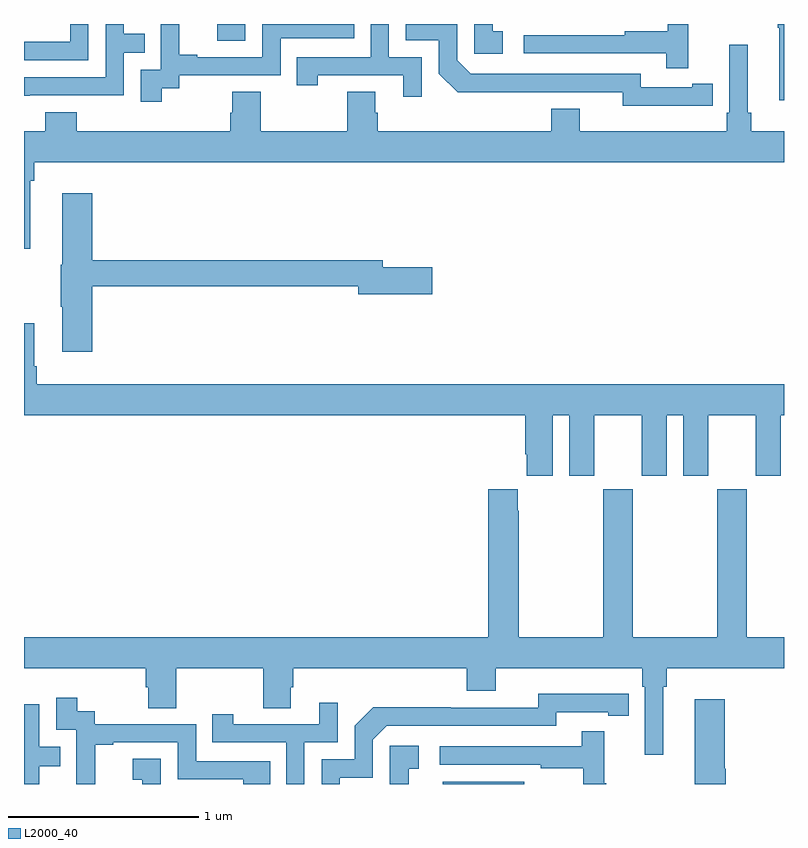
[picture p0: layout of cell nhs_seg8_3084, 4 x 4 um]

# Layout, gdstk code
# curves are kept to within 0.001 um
import gdstk
lib = gdstk.Library(unit=1e-6, precision=1e-09)
def R(c, l, rs):  # rectangles x0, y0, x1, y1
    for r in rs: c.add(gdstk.rectangle(r[:2], r[2:], *l))
def P(c, l, *ps):  # polygons
    for p in ps: c.add(gdstk.Polygon(p, *l))
L2000_40 = (2000, 40)

nhs_seg8_3084 = lib.new_cell('nhs_seg8_3084')
R(nhs_seg8_3084, L2000_40, [(305.204,1107.9,305.632,1107.913), (304.017,1111.812,304.164,1111.9), (303,1111.898,303.158,1111.9)])
P(nhs_seg8_3084, L2000_40, [(305.521,1111.863),(305.468,1111.863),(305.468,1111.9),(305.37,1111.9),(305.37,1111.743),(305.521,1111.743)],
  [(306.497,1111.9),(306.387,1111.9),(306.387,1111.862),(306.163,1111.862),(306.163,1111.842),(305.631,1111.842),(305.631,1111.746),(306.379,1111.746),(306.379,1111.668),(306.497,1111.668)],
  [(307,1111.9),(306.967,1111.9),(306.967,1111.879),(306.974,1111.879),(306.974,1111.5),(307,1111.5)],
  [(306.518,1111.47),(306.626,1111.47),(306.626,1111.586),(306.518,1111.586),(306.518,1111.566),(306.246,1111.566),(306.246,1111.638),(305.352,1111.638),(305.28,1111.71),(305.28,1111.9),(305.01,1111.9),(305.01,1111.815),(305.184,1111.815),(305.184,1111.638),(305.282,1111.541),(306.15,1111.542),(306.15,1111.469)],
  [(303.724,1111.561),(303.816,1111.561),(303.816,1111.629),(304.35,1111.629),(304.35,1111.824),(304.739,1111.824),(304.739,1111.9),(304.254,1111.9),(304.254,1111.725),(303.913,1111.725),(303.913,1111.738),(303.818,1111.738),(303.818,1111.9),(303.719,1111.9),(303.719,1111.889),(303.72,1111.889),(303.72,1111.659),(303.615,1111.659),(303.615,1111.491),(303.724,1111.491)],
  [(305.094,1111.725),(304.92,1111.725),(304.92,1111.9),(304.824,1111.9),(304.824,1111.725),(304.435,1111.725),(304.435,1111.578),(304.546,1111.578),(304.546,1111.629),(304.997,1111.629),(304.997,1111.518),(305.094,1111.518)],
  [(303.339,1111.9),(303.243,1111.9),(303.243,1111.806),(303,1111.806),(303,1111.71),(303.339,1111.71)],
  [(303.029,1111.524),(303.525,1111.524),(303.525,1111.749),(303.635,1111.749),(303.635,1111.85),(303.525,1111.85),(303.525,1111.9),(303.429,1111.9),(303.429,1111.62),(303,1111.62),(303,1111.523),(303.029,1111.523)],
  [(303.034,1111.076),(303.053,1111.076),(303.053,1111.172),(307,1111.172),(307,1111.336),(306.827,1111.336),(306.827,1111.432),(306.808,1111.432),(306.808,1111.792),(306.711,1111.792),(306.711,1111.432),(306.698,1111.432),(306.698,1111.336),(305.926,1111.336),(305.926,1111.453),(305.774,1111.453),(305.774,1111.336),(304.862,1111.336),(304.862,1111.434),(304.849,1111.434),(304.849,1111.544),(304.702,1111.544),(304.702,1111.336),(304.245,1111.336),(304.245,1111.544),(304.097,1111.544),(304.097,1111.434),(304.085,1111.434),(304.085,1111.336),(303.278,1111.336),(303.278,1111.435),(303.113,1111.435),(303.113,1111.336),(303,1111.336),(303,1110.717),(303.034,1110.717)],
  [(303.359,1110.52),(304.76,1110.52),(304.76,1110.478),(305.149,1110.478),(305.149,1110.62),(304.888,1110.62),(304.888,1110.656),(303.359,1110.656),(303.359,1111.009),(303.2,1111.009),(303.2,1110.633),(303.193,1110.633),(303.193,1110.412),(303.2,1110.412),(303.2,1110.174),(303.359,1110.174)],
  [(305.782,1109.84),(305.87,1109.84),(305.87,1109.523),(306.001,1109.523),(306.001,1109.84),(306.251,1109.84),(306.251,1109.523),(306.382,1109.523),(306.382,1109.84),(306.47,1109.84),(306.47,1109.523),(306.601,1109.523),(306.601,1109.84),(306.851,1109.84),(306.851,1109.523),(306.982,1109.523),(306.982,1109.84),(307,1109.84),(307,1110.004),(303.068,1110.004),(303.068,1110.1),(303.055,1110.1),(303.055,1110.325),(303,1110.325),(303,1109.84),(305.639,1109.84),(305.639,1109.635),(305.645,1109.635),(305.645,1109.523),(305.782,1109.523)],
  [(306.364,1108.412),(306.383,1108.412),(306.383,1108.508),(307,1108.508),(307,1108.672),(306.804,1108.672),(306.804,1109.452),(306.649,1109.452),(306.649,1108.672),(306.204,1108.672),(306.204,1109.452),(306.049,1109.452),(306.049,1108.672),(305.604,1108.672),(305.604,1109.339),(305.599,1109.339),(305.599,1109.452),(305.444,1109.452),(305.444,1108.672),(303,1108.672),(303,1108.508),(303.641,1108.508),(303.641,1108.41),(303.653,1108.41),(303.653,1108.3),(303.801,1108.3),(303.801,1108.508),(304.258,1108.508),(304.258,1108.3),(304.405,1108.3),(304.405,1108.41),(304.418,1108.41),(304.418,1108.508),(305.33,1108.508),(305.33,1108.391),(305.482,1108.391),(305.482,1108.508),(306.254,1108.508),(306.254,1108.412),(306.267,1108.412),(306.267,1108.053),(306.364,1108.053)],
  [(304.663,1107.933),(304.836,1107.933),(304.836,1108.134),(304.908,1108.206),(305.802,1108.206),(305.802,1108.278),(306.074,1108.278),(306.074,1108.258),(306.182,1108.258),(306.182,1108.374),(305.706,1108.375),(305.706,1108.302),(305.246,1108.302),(305.246,1108.304),(304.838,1108.304),(304.74,1108.206),(304.74,1108.029),(304.566,1108.029),(304.566,1107.9),(304.663,1107.9)],
  [(303.374,1108.107),(303.469,1108.107),(303.469,1108.119),(303.81,1108.119),(303.81,1107.924),(304.155,1107.924),(304.155,1107.9),(304.295,1107.9),(304.295,1108.02),(303.906,1108.02),(303.906,1108.215),(303.372,1108.215),(303.372,1108.284),(303.28,1108.284),(303.28,1108.354),(303.171,1108.354),(303.171,1108.185),(303.276,1108.185),(303.276,1107.956),(303.275,1107.956),(303.275,1107.9),(303.374,1107.9)],
  [(306.694,1107.981),(306.689,1107.981),(306.689,1108.345),(306.53,1108.345),(306.53,1107.9),(306.694,1107.9)],
  [(304.476,1108.119),(304.65,1108.119),(304.65,1108.327),(304.553,1108.327),(304.553,1108.215),(304.102,1108.215),(304.102,1108.267),(303.991,1108.267),(303.991,1108.119),(304.38,1108.119),(304.38,1107.9),(304.476,1107.9)],
  [(303.081,1107.994),(303.191,1107.994),(303.191,1108.095),(303.081,1108.095),(303.081,1108.32),(303,1108.32),(303,1107.9),(303.081,1107.9)],
  [(306.064,1107.905),(306.053,1107.905),(306.053,1108.177),(305.935,1108.177),(305.935,1108.098),(305.187,1108.098),(305.187,1108.002),(305.719,1108.002),(305.719,1107.982),(305.943,1107.982),(305.943,1107.9),(306.064,1107.9)],
  [(305.024,1107.981),(305.077,1107.981),(305.077,1108.102),(304.926,1108.102),(304.926,1107.9),(305.024,1107.9)],
  [(303.72,1108.033),(303.573,1108.033),(303.573,1107.923),(303.622,1107.923),(303.622,1107.9),(303.72,1107.9)])

lib.write_gds('nhs_seg8_3084.gds')
